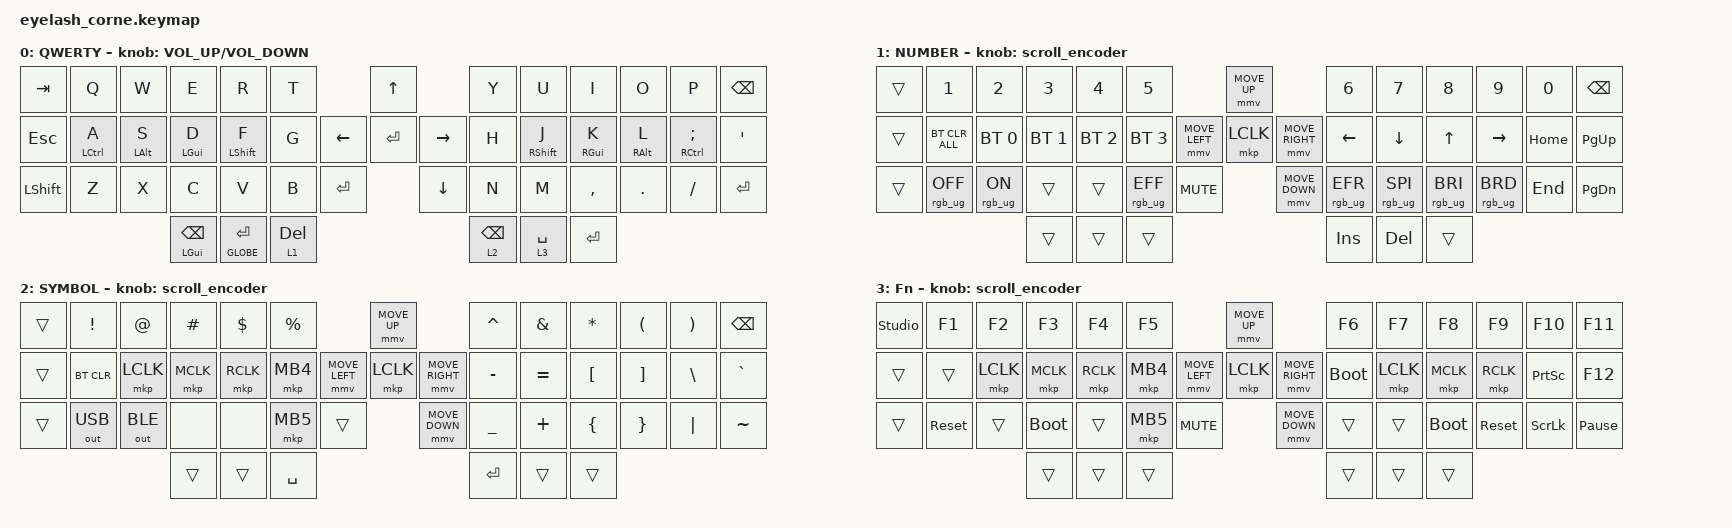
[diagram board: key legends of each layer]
#include <dt-bindings/zmk/mouse.h>
#include <input/processors.dtsi>
#include <behaviors.dtsi>
#include <dt-bindings/zmk/bt.h>
#include <dt-bindings/zmk/keys.h>
#include <dt-bindings/zmk/outputs.h>
#include <dt-bindings/zmk/pointing.h>
#include <dt-bindings/zmk/rgb.h>

/*

   &mmv_input_listener {
       input-processors = <&zip_xy_scaler 2 1>;
   };

   &msc_input_listener {
       input-processors = <&zip_xy_scaler 2 1>;
   };

 */

#define ZMK_MOUSE_DEFAULT_MOVE_VAL 1200  // 600
#define ZMK_MOUSE_DEFAULT_SCRL_VAL 20    // 10

/ {
    behaviors {
        td0: td0 {
            compatible = "zmk,behavior-tap-dance";
            display-name = "Shift/Caps Lock Tap Dance";
            #binding-cells = <0>;
            bindings = <&kp LEFT_SHIFT>, <&kp CAPS>;
        };

        HRM: HRM {
            compatible = "zmk,behavior-hold-tap";
            label = "HRM";
            bindings = <&kp>, <&kp>;

            #binding-cells = <2>;
            tapping-term-ms = <280>;
            quick-tap-ms = <150>;
            flavor = "balanced";
            hold-trigger-key-positions = <0 13 28 29 1 2 3 4 5 14 15 16 17 18 29 30 31 32 33 34 42 43 44 7 8 9 10 11 12 22 23 24 25 26 27 36 37 38 39 40 41 46 47 45>;
        };
    };

    rgb_encoder: rgb_encoder {
        compatible = "zmk,behavior-sensor-rotate";
        #sensor-binding-cells = <0>;
        bindings = <&rgb_ug RGB_BRI>, <&rgb_ug RGB_BRD>;
    };

    scroll_encoder: scroll_encoder {
        compatible = "zmk,behavior-sensor-rotate";
        #sensor-binding-cells = <0>;
        bindings = <&msc SCRL_DOWN>, <&msc SCRL_UP>;

        tap-ms = <30>;
    };

    keymap {
        compatible = "zmk,keymap";

        default_layer {
            display-name = "QWERTY";
            bindings = <
&kp TAB         &kp Q                &kp W            &kp E                &kp R              &kp T                                &kp UP                &kp Y            &kp U               &kp I             &kp O             &kp P                    &kp BSPC
&kp ESCAPE      &HRM LEFT_CONTROL A  &HRM LEFT_ALT S  &HRM LEFT_GUI D      &HRM LEFT_SHIFT F  &kp G                      &kp LEFT  &kp ENTER  &kp RIGHT  &kp H            &HRM RIGHT_SHIFT J  &HRM RIGHT_GUI K  &HRM RIGHT_ALT L  &HRM RIGHT_CONTROL SEMI  &kp SQT
&kp LEFT_SHIFT  &kp Z                &kp X            &kp C                &kp V              &kp B         &kp ENTER              &kp DOWN              &kp N            &kp M               &kp COMMA         &kp DOT           &kp FSLH                 &kp ENTER
                                                      &HRM LGUI BACKSPACE  &HRM GLOBE ENTER   &lt 1 DELETE                                               &lt 2 BACKSPACE  &lt 3 SPACE         &kp ENTER
            >;

            sensor-bindings = <&inc_dec_kp C_VOLUME_UP C_VOLUME_DOWN>;
        };

        lower_layer {
            display-name = "NUMBER";
            bindings = <
&trans  &kp N1           &kp N2          &kp N3        &kp N4        &kp N5                                         &mmv MOVE_UP                     &kp N6           &kp N7           &kp N8           &kp N9           &kp N0    &kp BSPC
&trans  &bt BT_CLR_ALL   &bt BT_SEL 0    &bt BT_SEL 1  &bt BT_SEL 2  &bt BT_SEL 3                   &mmv MOVE_LEFT  &mkp LCLK       &mmv MOVE_RIGHT  &kp LEFT         &kp DOWN         &kp UP           &kp RIGHT        &kp HOME  &kp PG_UP
&trans  &rgb_ug RGB_OFF  &rgb_ug RGB_ON  &trans        &trans        &rgb_ug RGB_EFF  &kp C_MUTE                    &mmv MOVE_DOWN                   &rgb_ug RGB_EFR  &rgb_ug RGB_SPI  &rgb_ug RGB_BRI  &rgb_ug RGB_BRD  &kp END   &kp PG_DN
                                         &trans        &trans        &trans                                                                          &kp INS          &kp DEL          &trans
            >;

            sensor-bindings = <&scroll_encoder>;
        };

        raise_layer {
            display-name = "SYMBOL";
            bindings = <
&trans  &kp EXCL      &kp AT        &kp HASH   &kp DLLR   &kp PRCNT                            &mmv MOVE_UP                     &kp CARET  &kp AMPS   &kp ASTRK  &kp LPAR  &kp RPAR  &kp BSPC
&trans  &bt BT_CLR    &mkp LCLK     &mkp MCLK  &mkp RCLK  &mkp MB4             &mmv MOVE_LEFT  &mkp LCLK       &mmv MOVE_RIGHT  &kp MINUS  &kp EQUAL  &kp LBKT   &kp RBKT  &kp BSLH  &kp GRAVE
&trans  &out OUT_USB  &out OUT_BLE  &none      &none      &mkp MB5   &trans                    &mmv MOVE_DOWN                   &kp UNDER  &kp PLUS   &kp LBRC   &kp RBRC  &kp PIPE  &kp TILDE
                                    &trans     &trans     &kp SPACE                                                             &kp RET    &trans     &trans
            >;

            sensor-bindings = <&scroll_encoder>;
        };

        layer_3 {
            display-name = "Fn";
            bindings = <
&studio_unlock  &kp F1      &kp F2     &kp F3       &kp F4     &kp F5                                  &mmv MOVE_UP                     &kp F6       &kp F7     &kp F8       &kp F9      &kp F10          &kp F11
&trans          &trans      &mkp LCLK  &mkp MCLK    &mkp RCLK  &mkp MB4                &mmv MOVE_LEFT  &mkp LCLK       &mmv MOVE_RIGHT  &bootloader  &mkp LCLK  &mkp MCLK    &mkp RCLK   &kp PRINTSCREEN  &kp F12
&trans          &sys_reset  &trans     &bootloader  &trans     &mkp MB5  &kp C_MUTE                    &mmv MOVE_DOWN                   &trans       &trans     &bootloader  &sys_reset  &kp SCROLLLOCK   &kp PAUSE_BREAK
                                       &trans       &trans     &trans                                                                   &trans       &trans     &trans
            >;

            sensor-bindings = <&scroll_encoder>;
        };
    };
};
